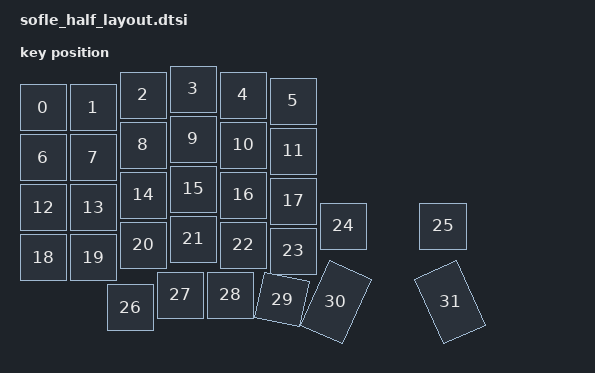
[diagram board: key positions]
#include <physical_layouts.dtsi>

/ {
    sofle_half_layout: sofle_half_layout {
        compatible = "zmk,physical-layout";
        display-name = "Sofle Half";

        keys  //                     w   h    x    y     rot    rx    ry
            = <&key_physical_attrs 100 100    0   37       0     0     0>
            , <&key_physical_attrs 100 100  100   37       0     0     0>
            , <&key_physical_attrs 100 100  200   12       0     0     0>
            , <&key_physical_attrs 100 100  300    0       0     0     0>
            , <&key_physical_attrs 100 100  400   12       0     0     0>
            , <&key_physical_attrs 100 100  500   24       0     0     0>
            , <&key_physical_attrs 100 100    0  137       0     0     0>
            , <&key_physical_attrs 100 100  100  137       0     0     0>
            , <&key_physical_attrs 100 100  200  112       0     0     0>
            , <&key_physical_attrs 100 100  300  100       0     0     0>
            , <&key_physical_attrs 100 100  400  112       0     0     0>
            , <&key_physical_attrs 100 100  500  124       0     0     0>
            , <&key_physical_attrs 100 100    0  237       0     0     0>
            , <&key_physical_attrs 100 100  100  237       0     0     0>
            , <&key_physical_attrs 100 100  200  212       0     0     0>
            , <&key_physical_attrs 100 100  300  200       0     0     0>
            , <&key_physical_attrs 100 100  400  212       0     0     0>
            , <&key_physical_attrs 100 100  500  224       0     0     0>
            , <&key_physical_attrs 100 100    0  337       0     0     0>
            , <&key_physical_attrs 100 100  100  337       0     0     0>
            , <&key_physical_attrs 100 100  200  312       0     0     0>
            , <&key_physical_attrs 100 100  300  300       0     0     0>
            , <&key_physical_attrs 100 100  400  312       0     0     0>
            , <&key_physical_attrs 100 100  500  324       0     0     0>
            , <&key_physical_attrs 100 100  600  274       0     0     0>
            , <&key_physical_attrs 100 100  800  274       0     0     0>
            , <&key_physical_attrs 100 100  175  437       0     0     0>
            , <&key_physical_attrs 100 100  275  412       0     0     0>
            , <&key_physical_attrs 100 100  375  412       0     0     0>
            , <&key_physical_attrs 100 100  490  412    1200   490   412>
            , <&key_physical_attrs 100 150  600  383    2400   600   433>
            , <&key_physical_attrs 100 150  800  383  (-2400)  900   433>
        ;
    };
};
